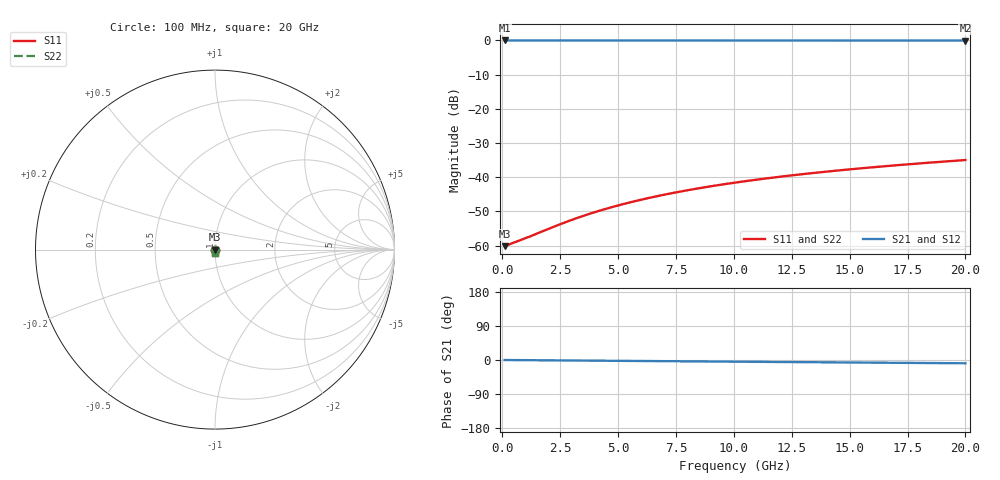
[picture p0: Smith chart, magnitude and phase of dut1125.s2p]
! Touchstone file exported from HFSS 2026.1.0
!  File:  C:/ffzhzh/LocalFiles/Ansys_Project_Files/temp_train_TSV_1125_1783191014_51560.aedt
!  Generated:  02:52:16 AM Jul  5, 2026
!  Design:  TSV
!  Project:  temp_train_TSV_1125_1783191014_51560
! Variables:
!  h_bsmrdl = 2um
!  h_ox = 20um
!  h_rdl = 5um
!  h_sub = 95.66um
!  h_tmrdl = 5um
!  h_tsv = 95.66um
!  h_via = 3um
!  l_bsmrdl = 300um
!  l_sub = 406.78um
!  l_tmrdl = 200um
!  m_sub = 200um
!  pitch = 12.35um
!  r_tsv = 3.39um
!  s_tmrdl = 10um
!  w_bsmrdl = 18um
!  w_sub = 500um
!  w_tmrdl = 12um
!  x_tsv_center1 = 206um
!  x_tsv_center2 = 524um
!  x_tsv_center3 = 736um
!  x_tsv_center4 = 1054um
!  x_tsv_center5 = 1266um
!  x_tsv_center6 = 1584um
# GHz S MA R 50.000000
! Terminal data exported
! Port[1] = TSV1_1_T1
! Port[2] = TSV1_1_T2
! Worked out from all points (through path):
!   200 points, 100 MHz to 20 GHz, reference 50 ohm
!   highest |S21| = -0.01 dB at 100 MHz (marker M1); lowest = 0.0 dB at 20 GHz (marker M2)
!   group delay of S21, straight-line fit = 1.2 ps
!   lowest |S11| = -60.2 dB at 100 MHz (marker M3), VSWR 1.00, Z = 50.1 - j0.00206 ohm
!   |S11| at or under -10 dB: start of sweep to end of sweep
!   |S22| runs from -60.2 to -35.0 dB; largest |S21 - S12| = 2.4e-15
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0.1  0.0009794 -1.2  0.999 -0.0  0.999 -0.0  0.0009794 -1.2
! Gamma 0 0 0 0
! Port Impedance 50 0 50 0
0.2  0.001006 -3.0  0.999 -0.1  0.999 -0.1  0.001006 -3.0
0.5  0.001105 -11.5  0.9989 -0.2  0.9989 -0.2  0.001105 -11.5
1.1  0.001319 -28.1  0.9988 -0.5  0.9988 -0.5  0.001319 -28.1
2.5  0.002052 -49.8  0.9986 -1.1  0.9986 -1.1  0.002052 -49.8
3  0.002374 -54.0  0.9986 -1.3  0.9986 -1.3  0.002374 -54.0
3.5  0.002719 -57.2  0.9985 -1.6  0.9985 -1.6  0.002719 -57.2
4.3  0.00331 -61.0  0.9983 -1.9  0.9983 -1.9  0.00331 -61.0
5.1  0.00394 -63.9  0.9981 -2.3  0.9981 -2.3  0.00394 -63.9
5.9  0.004601 -66.3  0.9979 -2.6  0.9979 -2.6  0.004602 -66.3
6.8  0.005375 -68.5  0.9978 -3.0  0.9978 -3.0  0.005375 -68.5
7.6  0.006083 -70.2  0.9976 -3.4  0.9976 -3.4  0.006083 -70.2
8.4  0.006805 -71.7  0.9974 -3.7  0.9974 -3.7  0.006805 -71.7
9.2  0.007539 -73.1  0.9973 -4.0  0.9973 -4.0  0.007539 -73.1
10.1  0.008373 -74.6  0.9971 -4.4  0.9971 -4.4  0.008373 -74.6
10.9  0.009122 -75.8  0.997 -4.8  0.997 -4.8  0.009122 -75.8
11.7  0.009875 -76.9  0.9969 -5.1  0.9969 -5.1  0.009875 -76.9
13.4  0.01149 -79.0  0.9966 -5.8  0.9966 -5.8  0.01149 -79.0
15  0.01301 -80.8  0.9964 -6.5  0.9964 -6.5  0.01301 -80.8
16.7  0.01464 -82.5  0.9962 -7.3  0.9962 -7.3  0.01464 -82.5
18.3  0.01617 -84.0  0.996 -7.9  0.996 -7.9  0.01617 -84.0
20  0.01781 -85.4  0.9957 -8.7  0.9957 -8.7  0.01781 -85.4
